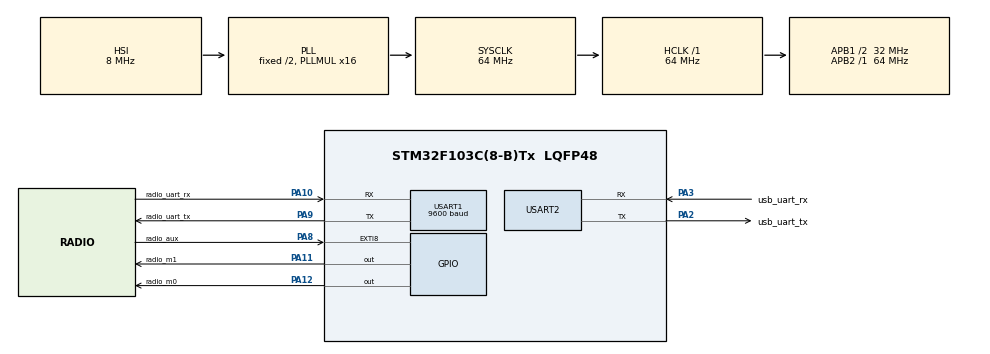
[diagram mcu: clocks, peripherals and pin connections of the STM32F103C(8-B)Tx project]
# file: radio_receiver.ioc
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Mcu.Family=STM32F1
Mcu.Name=STM32F103C(8-B)Tx
Mcu.Package=LQFP48
NVIC.EXTI9_5_IRQn=true\:0\:0\:false\:false\:true\:true\:true\:true
NVIC.PriorityGroup=NVIC_PRIORITYGROUP_4
NVIC.USART1_IRQn=true\:0\:0\:false\:false\:true\:true\:true\:true
PA10.GPIO_Label=radio_uart_rx
PA10.Mode=Asynchronous
PA10.Signal=USART1_RX
PA11.GPIO_Label=radio_m1
PA11.PinState=GPIO_PIN_SET
PA11.Signal=GPIO_Output
PA12.GPIO_Label=radio_m0
PA12.PinState=GPIO_PIN_SET
PA12.Signal=GPIO_Output
PA2.GPIO_Label=usb_uart_tx
PA2.Mode=Asynchronous
PA2.Signal=USART2_TX
PA3.GPIO_Label=usb_uart_rx
PA3.Mode=Asynchronous
PA3.Signal=USART2_RX
PA8.GPIO_Label=radio_aux
PA8.GPIO_ModeDefaultEXTI=GPIO_MODE_IT_RISING_FALLING
PA8.Signal=GPXTI8
PA9.GPIO_Label=radio_uart_tx
PA9.Mode=Asynchronous
PA9.Signal=USART1_TX
ProjectManager.HeapSize=0x200
ProjectManager.StackSize=0x400
ProjectManager.TargetToolchain=CMake
RCC.AHBFreq_Value=64000000
RCC.APB1CLKDivider=RCC_HCLK_DIV2
RCC.APB1Freq_Value=32000000
RCC.APB1TimFreq_Value=64000000
RCC.APB2Freq_Value=64000000
RCC.APB2TimFreq_Value=64000000
RCC.HCLKFreq_Value=64000000
RCC.PLLMUL=RCC_PLL_MUL16
RCC.SYSCLKFreq_VALUE=64000000
RCC.SYSCLKSource=RCC_SYSCLKSOURCE_PLLCLK
RCC.USBFreq_Value=64000000
USART1.BaudRate=9600
USART1.VirtualMode=VM_ASYNC
USART2.VirtualMode=VM_ASYNC
VP_SYS_VS_ND.Mode=No_Debug
board=custom

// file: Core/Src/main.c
/* USER CODE BEGIN Header */
/**
  ******************************************************************************
  * @file           : main.c
  * @brief          : Main program body
  ******************************************************************************
  * @attention
  *
  * Copyright (c) 2025 STMicroelectronics.
  * All rights reserved.
  *
  * This software is licensed under terms that can be found in the LICENSE file
  * in the root directory of this software component.
  * If no LICENSE file comes with this software, it is provided AS-IS.
  *
  ******************************************************************************
  */
/* USER CODE END Header */
#include "main.h"
#include "usart.h"
#include "gpio.h"

/* USER CODE BEGIN Includes */

#include "communication.h"
#include "radio.h"

/* USER CODE END Includes */

/* USER CODE BEGIN PV */
uint8_t buffer[1];

/* USER CODE END PV */

void SystemClock_Config(void);

/* USER CODE BEGIN 0 */

typedef enum
{
  NONE,
  AUX_HIGH,
  AUX_LOW
} radio_state;

radio_state radio_curr_state = NONE;

void log_radio_state()
{
    switch (radio_curr_state)
    {
      case AUX_HIGH:
        char msg1[256] = "Radio status: AUX_HIGH\n\r\0";
        send_message(msg1, PRIORITY_HIGH);
        break;

      case AUX_LOW:
        char msg2[256] = "Radio status: AUX_LOW\n\r\0";
        send_message(msg2, PRIORITY_HIGH);
        break;

      case NONE:
        char msg3[256] = "Radio status: AUX_NONE\n\r\0";
        send_message(msg3, PRIORITY_HIGH);
        break;

      default:
        char msg4[256] = "Radio status: WTF?\n\r\0";
        send_message(msg4, PRIORITY_HIGH);
        break;
    }
}

/* USER CODE END 0 */

int main(void)
{

  /* MCU Configuration--------------------------------------------------------*/

  /* Reset of all peripherals, Initializes the Flash interface and the Systick. */
  HAL_Init();

  /* Configure the system clock */
  SystemClock_Config();

  /* Initialize all configured peripherals */
  MX_GPIO_Init();
  MX_USART1_UART_Init();
  MX_USART2_UART_Init();
  /* USER CODE BEGIN 2 */

  char msg0[256] = "⛵ Shellow from SSAU & Vela & radio receiver!! ⛵\n\r\0";
  send_message(msg0, PRIORITY_HIGH);

  HAL_UART_Receive_IT(&huart1, buffer, 1);

  HAL_Delay(10000);

  log_radio_state();
  radio_init();
  log_radio_state();

  /* USER CODE END 2 */

  /* Infinite loop */
  while (1)
  {

  }
}

void SystemClock_Config(void)
{
  RCC_OscInitTypeDef RCC_OscInitStruct = {0};
  RCC_ClkInitTypeDef RCC_ClkInitStruct = {0};

  /** Initializes the RCC Oscillators according to the specified parameters
  * in the RCC_OscInitTypeDef structure.
  */
  RCC_OscInitStruct.OscillatorType = RCC_OSCILLATORTYPE_HSI;
  RCC_OscInitStruct.HSIState = RCC_HSI_ON;
  RCC_OscInitStruct.HSICalibrationValue = RCC_HSICALIBRATION_DEFAULT;
  RCC_OscInitStruct.PLL.PLLState = RCC_PLL_ON;
  RCC_OscInitStruct.PLL.PLLSource = RCC_PLLSOURCE_HSI_DIV2;
  RCC_OscInitStruct.PLL.PLLMUL = RCC_PLL_MUL16;
  if (HAL_RCC_OscConfig(&RCC_OscInitStruct) != HAL_OK)
  {
    Error_Handler();
  }

  /** Initializes the CPU, AHB and APB buses clocks
  */
  RCC_ClkInitStruct.ClockType = RCC_CLOCKTYPE_HCLK|RCC_CLOCKTYPE_SYSCLK
                              |RCC_CLOCKTYPE_PCLK1|RCC_CLOCKTYPE_PCLK2;
  RCC_ClkInitStruct.SYSCLKSource = RCC_SYSCLKSOURCE_PLLCLK;
  RCC_ClkInitStruct.AHBCLKDivider = RCC_SYSCLK_DIV1;
  RCC_ClkInitStruct.APB1CLKDivider = RCC_HCLK_DIV2;
  RCC_ClkInitStruct.APB2CLKDivider = RCC_HCLK_DIV1;

  if (HAL_RCC_ClockConfig(&RCC_ClkInitStruct, FLASH_LATENCY_2) != HAL_OK)
  {
    Error_Handler();
  }
}

/* USER CODE BEGIN 4 */

void HAL_UART_RxCpltCallback(UART_HandleTypeDef *huart) {
	HAL_UART_Receive_IT(&huart1, buffer, 1);
	HAL_UART_Transmit(&huart2, buffer, 1, 0xFFFF);
}

void HAL_GPIO_EXTI_Callback(uint16_t GPIO_Pin)
{
  if(GPIO_Pin == radio_aux_Pin) {
    radio_curr_state = HAL_GPIO_ReadPin(radio_aux_GPIO_Port, radio_aux_Pin) == GPIO_PIN_SET? AUX_HIGH : AUX_LOW;
  } else {
      __NOP();
  }
}

/* USER CODE END 4 */

void Error_Handler(void)
{
  __disable_irq();
  while (1)
  {
  }
}
